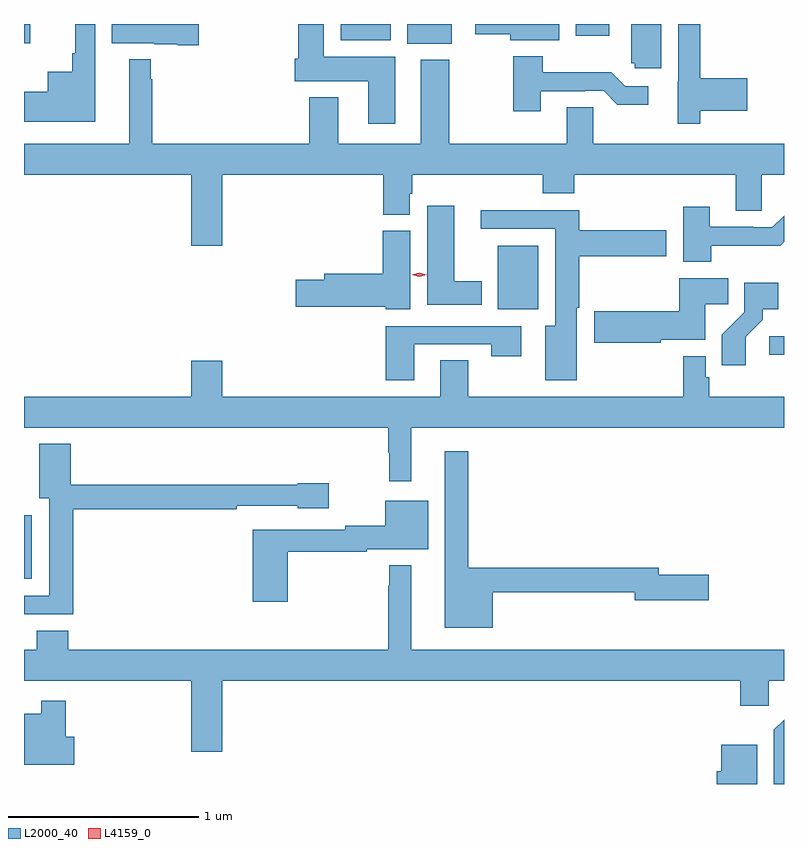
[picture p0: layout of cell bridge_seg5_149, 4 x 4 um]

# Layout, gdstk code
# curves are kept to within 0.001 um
import gdstk
lib = gdstk.Library(unit=1e-6, precision=1e-09)
def R(c, l, rs):  # rectangles x0, y0, x1, y1
    for r in rs: c.add(gdstk.rectangle(r[:2], r[2:], *l))
def P(c, l, *ps):  # polygons
    for p in ps: c.add(gdstk.Polygon(p, *l))
L2000_40 = (2000, 40)
L4159_0 = (4159, 0)

bridge_seg5_149 = lib.new_cell('bridge_seg5_149')
R(bridge_seg5_149, L2000_40, [(152.14,909.245,152.182,909.58), (156.063,910.423,156.14,910.521), (154.634,910.664,154.846,910.999), (154.157,912.062,154.39,912.165), (152.14,912.065,152.173,912.165), (153.806,912.08,154.069,912.165), (155.043,912.104,155.221,912.165)])
P(bridge_seg5_149, L2000_40, [(155.494,912.165),(155.336,912.165),(155.336,911.958),(155.355,911.958),(155.355,911.931),(155.494,911.931)],
  [(153.061,912.165),(152.603,912.165),(152.603,912.065),(152.826,912.065),(152.826,912.059),(152.948,912.059),(152.948,912.053),(153.061,912.053)],
  [(154.093,911.992),(153.718,911.992),(153.718,912.165),(153.584,912.165),(153.584,911.982),(153.566,911.982),(153.566,911.864),(153.953,911.864),(153.953,911.64),(154.093,911.64)],
  [(154.958,912.165),(154.515,912.165),(154.515,912.11),(154.7,912.11),(154.7,912.08),(154.958,912.08)],
  [(155.699,911.708),(155.947,911.708),(155.947,911.879),(155.699,911.879),(155.699,912.165),(155.583,912.165),(155.583,911.862),(155.582,911.862),(155.582,911.64),(155.699,911.64)],
  [(152.515,912.165),(152.411,912.165),(152.411,912.01),(152.394,912.01),(152.394,911.914),(152.264,911.914),(152.264,911.809),(152.14,911.809),(152.14,911.651),(152.515,911.651)],
  [(154.861,911.811),(155.09,911.811),(155.09,911.814),(155.19,911.814),(155.263,911.741),(155.425,911.741),(155.425,911.838),(155.304,911.838),(155.231,911.911),(154.869,911.911),(154.869,911.995),(154.714,911.995),(154.714,911.706),(154.861,911.706)],
  [(154.377,911.977),(154.229,911.977),(154.229,911.536),(153.793,911.536),(153.793,911.779),(153.641,911.779),(153.641,911.536),(152.815,911.536),(152.815,911.873),(152.807,911.873),(152.807,911.98),(152.693,911.98),(152.693,911.536),(152.14,911.536),(152.14,911.372),(153.02,911.372),(153.02,910.998),(153.184,910.998),(153.184,911.372),(154.031,911.372),(154.031,911.161),(154.171,911.161),(154.171,911.271),(154.184,911.271),(154.184,911.372),(154.871,911.372),(154.871,911.273),(155.036,911.273),(155.036,911.372),(155.885,911.372),(155.885,911.182),(156.024,911.182),(156.024,911.372),(156.14,911.372),(156.14,911.536),(155.136,911.536),(155.136,911.726),(154.997,911.726),(154.997,911.536),(154.377,911.536)],
  [(154.549,910.81),(154.405,910.81),(154.405,911.209),(154.262,911.209),(154.262,910.688),(154.549,910.688)],
  [(155.757,910.998),(156.119,910.997),(156.14,911.018),(156.14,911.156),(156.078,911.094),(155.978,911.094),(155.978,911.097),(155.749,911.097),(155.749,911.203),(155.609,911.203),(155.609,910.913),(155.757,910.913)],
  [(155.05,910.672),(155.063,910.672),(155.063,910.942),(155.521,910.942),(155.521,911.079),(155.063,911.079),(155.063,911.186),(154.545,911.186),(154.545,911.088),(154.937,911.088),(154.937,910.576),(154.883,910.576),(154.883,910.29),(155.05,910.29)],
  [(154.174,911.076),(154.028,911.076),(154.028,910.85),(153.719,910.85),(153.719,910.82),(153.57,910.82),(153.57,910.678),(154.044,910.678),(154.044,910.664),(154.174,910.664)],
  [(155.49,910.502),(155.725,910.502),(155.725,910.69),(155.846,910.69),(155.846,910.828),(155.588,910.828),(155.588,910.653),(155.142,910.653),(155.142,910.487),(155.49,910.487)],
  [(155.938,910.519),(156.028,910.609),(156.028,910.664),(156.109,910.664),(156.109,910.804),(155.931,910.804),(155.931,910.649),(155.812,910.53),(155.812,910.368),(155.938,910.368)],
  [(154.195,910.479),(154.6,910.479),(154.6,910.416),(154.756,910.416),(154.756,910.575),(154.043,910.575),(154.043,910.29),(154.195,910.29)],
  [(154.177,910.04),(156.14,910.04),(156.14,910.204),(155.747,910.204),(155.747,910.305),(155.727,910.305),(155.727,910.417),(155.611,910.417),(155.611,910.204),(154.479,910.204),(154.479,910.394),(154.331,910.394),(154.331,910.204),(153.184,910.204),(153.184,910.393),(153.02,910.393),(153.02,910.204),(152.14,910.204),(152.14,910.04),(154.056,910.04),(154.056,909.908),(154.063,909.908),(154.063,909.759),(154.177,909.759)],
  [(152.399,909.61),(153.26,909.61),(153.26,909.63),(153.582,909.63),(153.582,909.617),(153.745,909.617),(153.745,909.747),(153.582,909.747),(153.582,909.739),(152.386,909.739),(152.386,909.955),(152.219,909.955),(152.219,909.668),(152.273,909.668),(152.273,909.156),(152.14,909.156),(152.14,909.059),(152.399,909.059)],
  [(154.606,909.174),(155.354,909.174),(155.354,909.131),(155.743,909.131),(155.743,909.266),(155.482,909.266),(155.482,909.302),(154.477,909.302),(154.477,909.916),(154.355,909.916),(154.355,908.987),(154.606,908.987)],
  [(153.527,909.388),(153.944,909.388),(153.944,909.401),(154.267,909.401),(154.267,909.655),(154.04,909.655),(154.04,909.524),(153.832,909.524),(153.832,909.504),(153.344,909.504),(153.344,909.123),(153.527,909.123)],
  [(152.207,908.971),(152.207,908.872),(152.14,908.872),(152.14,908.708),(153.02,908.708),(153.02,908.334),(153.184,908.334),(153.184,908.708),(155.909,908.708),(155.909,908.577),(156.06,908.577),(156.06,908.708),(156.14,908.708),(156.14,908.872),(154.177,908.872),(154.177,909.316),(154.062,909.316),(154.062,909.209),(154.056,909.209),(154.056,908.872),(152.372,908.872),(152.372,908.971)],
  [(152.404,908.415),(152.36,908.415),(152.36,908.602),(152.232,908.602),(152.232,908.536),(152.14,908.536),(152.14,908.267),(152.404,908.267)],
  [(156.14,908.504),(156.087,908.451),(156.087,908.165),(156.14,908.165)],
  [(155.998,908.371),(155.81,908.371),(155.81,908.232),(155.786,908.232),(155.786,908.165),(155.998,908.165)])
P(bridge_seg5_149, L4159_0, [(154.219,910.835),(154.18,910.845),(154.179,910.845),(154.18,910.845),(154.219,910.855),(154.259,910.845),(154.259,910.844),(154.259,910.844)])

lib.write_gds('bridge_seg5_149.gds')
